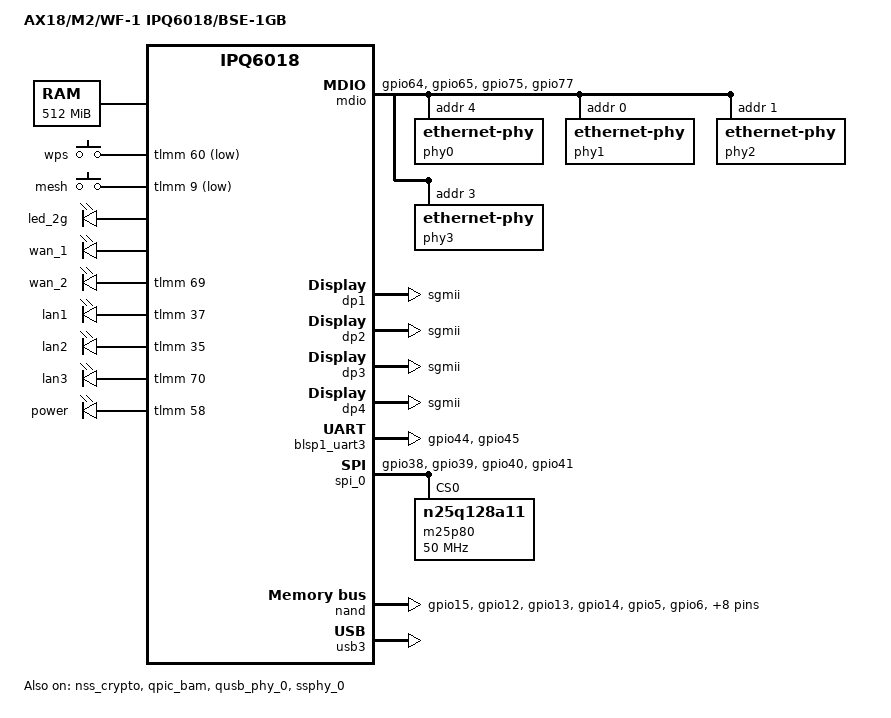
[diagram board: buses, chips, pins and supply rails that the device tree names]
/dts-v1/;
/*
 * Copyright (c) 2019, The Linux Foundation. All rights reserved.
 *
 * Permission to use, copy, modify, and/or distribute this software for any
 * purpose with or without fee is hereby granted, provided that the above
 * copyright notice and this permission notice appear in all copies.
 *
 * THE SOFTWARE IS PROVIDED "AS IS" AND THE AUTHOR DISCLAIMS ALL WARRANTIES
 * WITH REGARD TO THIS SOFTWARE INCLUDING ALL IMPLIED WARRANTIES OF
 * MERCHANTABILITY AND FITNESS. IN NO EVENT SHALL THE AUTHOR BE LIABLE FOR
 * ANY SPECIAL, DIRECT, INDIRECT, OR CONSEQUENTIAL DAMAGES OR ANY DAMAGES
 * WHATSOEVER RESULTING FROM LOSS OF USE, DATA OR PROFITS, WHETHER IN AN
 * ACTION OF CONTRACT, NEGLIGENCE OR OTHER TORTIOUS ACTION, ARISING OUT OF
 * OR IN CONNECTION WITH THE USE OR PERFORMANCE OF THIS SOFTWARE.
 */

#include "qcom-ipq6018.dtsi"
#include "qcom-ipq6018-rpm-regulator.dtsi"
#include "qcom-ipq6018-cpr-regulator.dtsi"
#include "qcom-ipq6018-cp-cpu.dtsi"
#include "dt-bindings/input/input.h"
#include "dt-bindings/gpio/gpio.h"
/ {
	#address-cells = <0x2>;
	#size-cells = <0x2>;
	model = "AX18/M2/WF-1 IPQ6018/BSE-1GB";
	compatible = "qcom,ipq6018-cp03", "qcom,ipq6018";
	interrupt-parent = <&intc>;
	qcom,msm-id = <0x192 0x0>;
                    
	aliases {
		led-boot = "/soc/leds/led@58";
		led-failsafe = "/soc/leds/led@58";
		led-running = "/soc/leds/led@58";
		led-upgrade = "/soc/leds/led@58";
		serial0 = &blsp1_uart3;

		ethernet0 = "/soc/dp1";
		ethernet1 = "/soc/dp2";
		ethernet2 = "/soc/dp3";
		ethernet3 = "/soc/dp4";
	};

	chosen {
		bootargs = "console=ttyMSM0,115200,n8 rw init=/init";
		bootargs-append = " root=/dev/ubiblock0_1 swiotlb=1";
	};


	memory {
		device_type = "memory";
		reg = <0x0 0x40000000 0x0 0x20000000>;
	};

	reserved-memory {
		#address-cells = <2>;
		#size-cells = <2>;
		ranges;

		nss@40000000 {
			no-map;
			reg = <0x0 0x40000000 0x0 0x01000000>;
		};

		uboot@4A100000 {
			no-map;
			reg = <0x0 0x4A100000 0x0 0x00400000>;
		};

		sbl@4A500000 {
			no-map;
			reg = <0x0 0x4A500000 0x0 0x00100000>;
		};

		tz@4A600000 {
			no-map;
			reg = <0x0 0x4A600000 0x0 0x00400000>;
		};

		smem_region:smem@4AA00000 {
			no-map;
			reg = <0x0 0x4AA00000 0x0 0x00100000>;
		};

		q6_region: wcnss@4ab00000 {
			no-map;
			reg = <0x0 0x4ab00000 0x0 0x03700000>;
		};

		q6_etr_region: q6_etr_dump@1 {
			no-map;
			reg = <0x0 0x4E200000 0x0 0x100000>;
		};

		m3_dump@4e300000 {
			no-map;
			reg = <0x0 0x4e300000 0x0 0x100000>;
		};

		rpm_msg_ram: rpm_msg_ram@0x60000 {
			no-map;
			reg = <0x0 0x60000 0x0 0x6000>;
		};
	};

	soc {
		gpio_keys {
			compatible = "gpio-keys";
			pinctrl-0 = <&button_pins>;
			pinctrl-names = "default";

			wps {
				label = "wps";
				linux,code = <KEY_WPS_BUTTON>;
				gpios = <&tlmm 60 GPIO_ACTIVE_LOW>;
				linux,input-type = <1>;
				debounce-interval = <60>;
			};

			mesh {
				label = "mesh";
				linux,code = <KEY_ATTENDANT_ON>;
				gpios = <&tlmm 9 GPIO_ACTIVE_LOW>;
				linux,input-type = <1>;
				debounce-interval = <60>;
			};
		};

		leds {
			compatible = "gpio-leds";
			pinctrl-0 = <&led_pins>;
			pinctrl-names = "default";

			led@73 {
				label = "led_2g";
				gpio = <&tlmm 73 GPIO_ACTIVE_HIGH>;
				default-state = "on";
			};

			led@74 {
				label = "wan_1";
				gpio = <&tlmm 74 GPIO_ACTIVE_HIGH>;
				default-state = "off";
			};

			led@69 {
				label = "wan_2";
				gpios = <&tlmm 69 GPIO_ACTIVE_HIGH>;
				linux,default-trigger = "wan_2";
				default-state = "off";
			};

			led@37 {
				label = "lan1";
				gpios = <&tlmm 37 GPIO_ACTIVE_HIGH>;
				linux,default-trigger = "lan1";
				default-state = "off";
			};

			led@35 {
				label = "lan2";
				gpios = <&tlmm 35 GPIO_ACTIVE_HIGH>;
				linux,default-trigger = "lan2";
				default-state = "off";
			};

			led@70 {
				label = "lan3";
				gpios = <&tlmm 70 GPIO_ACTIVE_HIGH>;
				linux,default-trigger = "lan3";
				default-state = "off";
			};

			led@58 {
				label = "power";
				gpios = <&tlmm 58 GPIO_ACTIVE_HIGH>;
				linux,default-trigger = "power";
				default-state = "on";
			};
		};

		mdio: mdio@90000 {
			pinctrl-0 = <&mdio_pins>;
			pinctrl-names = "default";
			phy-reset-gpio = <&tlmm 74 0>;
			status = "ok";

			phy0: ethernet-phy@0 {
				reg = <4>;
			};
			phy1: ethernet-phy@1 {
				reg = <0>;
			};
			phy2: ethernet-phy@2 {
				reg = <1>;
			};
			phy3: ethernet-phy@3 {
				reg = <3>;
			};
		};

		ess-switch@3a000000 {
			switch_cpu_bmp = <0x1>;  /* cpu port bitmap */
			switch_lan_bmp = <0x1e>; /* lan port bitmap */
			switch_wan_bmp = <0x20>; /* wan port bitmap */
			switch_inner_bmp = <0xc0>; /*inner port bitmap*/
			switch_mac_mode = <0x0>; /* mac mode for uniphy 0*/
			switch_mac_mode1 = <0xff>; /* mac mode for uniphy 1*/
			switch_mac_mode2 = <0xff>; /* mac mode for uniphy 2*/

			qcom,port_phyinfo {
				port@3 {
					port_id = <5>;
					phy_address = <4>;
				};
				port@0 {
					port_id = <1>;
					phy_address = <0>;
				};
				port@1 {
					port_id = <2>;
					phy_address = <1>;
				};
				port@2 {
					port_id = <4>;
					phy_address = <3>;
				};
			};
		};

		dp1 {
			device_type = "network";
			compatible = "qcom,nss-dp";
			qcom,id = <5>;
			reg = <0x3a001800 0x200>;
			qcom,mactype = <0>;
			local-mac-address = [000000000000];
			qcom,link-poll = <1>;
			qcom,phy-mdio-addr = <4>;
			phy-mode = "sgmii";
		};

		dp2 {
			device_type = "network";
			compatible = "qcom,nss-dp";
			qcom,id = <1>;
			reg = <0x3a001000 0x200>;
			qcom,mactype = <0>;
			local-mac-address = [000000000000];
			qcom,link-poll = <1>;
			qcom,phy-mdio-addr = <0>;
			phy-mode = "sgmii";
		};

		dp3 {
			device_type = "network";
			compatible = "qcom,nss-dp";
			qcom,id = <2>;
			reg = <0x3a001200 0x200>;
			qcom,mactype = <0>;
			local-mac-address = [000000000000];
			qcom,link-poll = <1>;
			qcom,phy-mdio-addr = <1>;
			phy-mode = "sgmii";
		};

		dp4 {
			device_type = "network";
			compatible = "qcom,nss-dp";
			qcom,id = <4>;
			reg = <0x3a001600 0x200>;
			qcom,mactype = <0>;
			local-mac-address = [000000000000];
			qcom,link-poll = <1>;
			qcom,phy-mdio-addr = <3>;
			phy-mode = "sgmii";
		};

		nss-macsec0 {
			compatible = "qcom,nss-macsec";
			phy_addr = <0x18>;
			phy_access_mode = <0x00>;
			mdiobus = <0x47>;
		};
	};
};

&tlmm {
	uart_pins: uart_pins {
		mux {
			pins = "gpio44", "gpio45";
			function = "blsp2_uart";
			drive-strength = <8>;
			bias-pull-down;
		};
	};

	spi_0_pins: spi_0_pins {
		mux {
			pins = "gpio38", "gpio39", "gpio40", "gpio41";
			function = "blsp0_spi";
			drive-strength = <8>;
			bias-pull-down;
		};
	};

	qpic_pins: qpic_pins {
		data_0 {
			pins = "gpio15";
			function = "qpic_pad0";
			drive-strength = <8>;
			bias-pull-down;
		};
		data_1 {
			pins = "gpio12";
			function = "qpic_pad1";
			drive-strength = <8>;
			bias-pull-down;
		};
		data_2 {
			pins = "gpio13";
			function = "qpic_pad2";
			drive-strength = <8>;
			bias-pull-down;
		};
		data_3 {
			pins = "gpio14";
			function = "qpic_pad3";
			drive-strength = <8>;
			bias-pull-down;
		};
		data_4 {
			pins = "gpio5";
			function = "qpic_pad4";
			drive-strength = <8>;
			bias-pull-down;
		};
		data_5 {
			pins = "gpio6";
			function = "qpic_pad5";
			drive-strength = <8>;
			bias-pull-down;
		};
		data_6 {
			pins = "gpio7";
			function = "qpic_pad6";
			drive-strength = <8>;
			bias-pull-down;
		};
		data_7 {
			pins = "gpio8";
			function = "qpic_pad7";
			drive-strength = <8>;
			bias-pull-down;
		};
		qpic_pad {
			pins = "gpio1", "gpio3", "gpio4",
			       "gpio10", "gpio11", "gpio17";
			function = "qpic_pad";
			drive-strength = <8>;
			bias-pull-down;
		};
	};

	button_pins: button_pins {
		wps_button {
			pins = "gpio60";
			function = "gpio";
			drive-strength = <8>;
			bias-pull-up;
		};

		mesh_button {
			pins = "gpio9";
			function = "gpio";
			drive-strength = <8>;
			bias-pull-up;
		};
	};

	mdio_pins: mdio_pinmux {
		mux_0 {
			pins = "gpio64";
			function = "mdc";
			drive-strength = <8>;
			bias-pull-up;
		};

		mux_1 {
			pins = "gpio65";
			function = "mdio";
			drive-strength = <8>;
			bias-pull-up;
		};

		mux_2 {
			pins = "gpio75";
			function = "gpio";
			bias-pull-up;
		};

		mux_3 {
			pins = "gpio77";
			function = "gpio";
			bias-pull-up;
		};
	};

	led_pins: led_pins {
		led_2g {
			pins = "gpio73";
			function = "gpio";
			drive-strength = <0x08>;
			bias-pull-up;
		};

		power {
			pins = "gpio58";
			function = "gpio";
			drive-strength = <0x08>;
			bias-pull-up;
		};

		wan_1 {
			pins = "gpio74";
			function = "gpio";
			drive-strength = <0x08>;
			bias-pull-down;
		};

		wan_2 {
			pins = "gpio69";
			function = "gpio";
			drive-strength = <0x08>;
			bias-pull-down;
		};

		lan1 {
			pins = "gpio37";
			function = "gpio";
			drive-strength = <0x08>;
			bias-pull-down;
		};

		lan2 {
			pins = "gpio35";
			function = "gpio";
			drive-strength = <0x08>;
			bias-pull-down;
		};

		lan3 {
			pins = "gpio70";
			function = "gpio";
			drive-strength = <0x08>;
			bias-pull-down;
		};
	};
};

&blsp1_uart3 {
	pinctrl-0 = <&uart_pins>;
	pinctrl-names = "default";
	status = "ok";
};

&spi_0 {
	pinctrl-0 = <&spi_0_pins>;
	pinctrl-names = "default";
	cs-select = <0>;
	status = "ok";

	m25p80@0 {
		#address-cells = <1>;
		#size-cells = <1>;
		reg = <0>;
		compatible = "n25q128a11";
		spi-max-frequency = <50000000>;
		use-default-sizes;
	};
};

&nand {
	pinctrl-0 = <&qpic_pins>;
	pinctrl-names = "default";
	status = "ok";
};

&nss_crypto {
	status = "ok";
};

&qpic_bam {
	status = "ok";
};

&qusb_phy_0 {
	status = "ok";
};

&ssphy_0 {
	status = "ok";
};

&dbm_1p5 {
	compatible = "qcom,usb-dbm-1p5";
	reg = <0x8AF8000 0x300>;
	qcom,reset-ep-after-lpm-resume;
		};

&usb3 {
	status = "ok";
};
